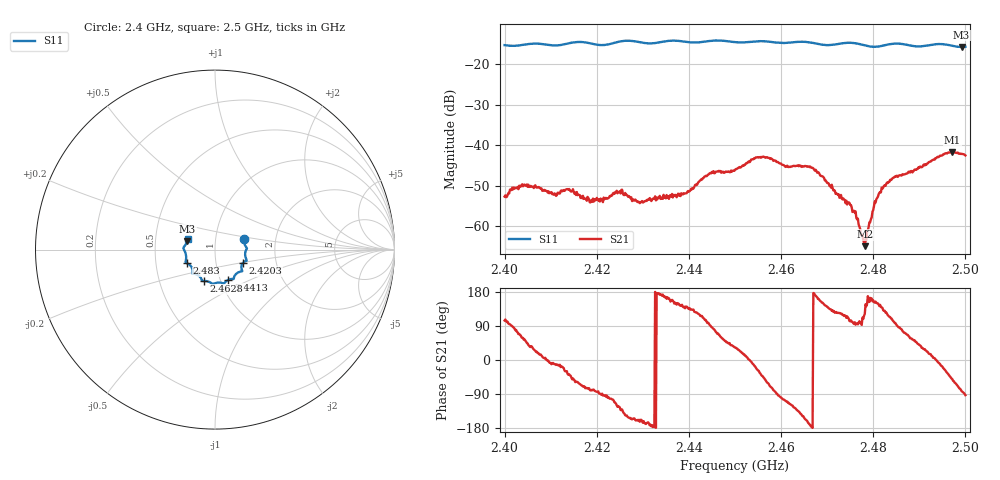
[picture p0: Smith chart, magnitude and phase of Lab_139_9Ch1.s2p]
# Hz S RI R 50
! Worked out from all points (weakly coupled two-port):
!   601 points, 2.4 GHz to 2.5 GHz, reference 50 ohm
!   highest |S21| = -41.67 dB at 2.4972 GHz (marker M1); lowest = -64.9 dB at 2.4782 GHz (marker M2)
!   lowest |S11| = -15.8 dB at 2.4992 GHz (marker M3), VSWR 1.39, Z = 36.4 + j3.52 ohm
!   |S11| at or under -10 dB: start of sweep to end of sweep
!   S12 and S22 are empty: the file has one direction only
!   S11 on the Smith chart (normalised r, x): 2.4 GHz: 1.37, +0.16; 2.4203 GHz: 1.35, -0.21; 2.4413 GHz: 1.09, -0.38; 2.4628 GHz: 0.83, -0.30; 2.483 GHz: 0.72, -0.11; 2.5 GHz: 0.73, +0.09
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2.4e9  0.1611 0.0569  -0.00057 0.00226  0 0  0 0
2.404333e9  0.1725 0.0159  0.00191 0.00265  0 0  0 0
2.413667e9  0.1718 -0.0485  0.0023 -0.00172  0 0  0 0
2.416667e9  0.1762 -0.0616  0.000912 -0.00214  0 0  0 0
2.420333e9  0.1553 -0.0742  0.00026 -0.00207  0 0  0 0
2.425e9  0.1503 -0.1149  -0.00154 -0.00222  0 0  0 0
2.429167e9  0.1398 -0.1233  -0.00184 -0.000751  0 0  0 0
2.433333e9  0.1081 -0.1484  -0.00226 0.00014  0 0  0 0
2.441333e9  0.0744 -0.1682  -0.00191 0.00259  0 0  0 0
2.444833e9  0.0527 -0.1859  0.000195 0.00448  0 0  0 0
2.45e9  0.0292 -0.1838  0.00416 0.00268  0 0  0 0
2.455e9  -0.00762 -0.1908  0.00631 -0.0033  0 0  0 0
2.462833e9  -0.0631 -0.1748  -0.00321 -0.00455  0 0  0 0
2.466667e9  -0.0744 -0.1672  -0.00524 -0.000388  0 0  0 0
2.474833e9  -0.1248 -0.1336  -0.00044 0.0019  0 0  0 0
2.478167e9  -0.1247 -0.1147  -0.000302 0.000482  0 0  0 0
2.480667e9  -0.136 -0.0904  -0.00189 0.00103  0 0  0 0
2.483e9  -0.1549 -0.0767  -0.00182 0.00294  0 0  0 0
2.483333e9  -0.157 -0.0757  -0.00154 0.00316  0 0  0 0
2.497167e9  -0.1658 0.0246  0.00525 -0.00637  0 0  0 0
2.499167e9  -0.1551 0.0471  0.00114 -0.00774  0 0  0 0
2.5e9  -0.1526 0.0584  -0.000367 -0.00746  0 0  0 0
